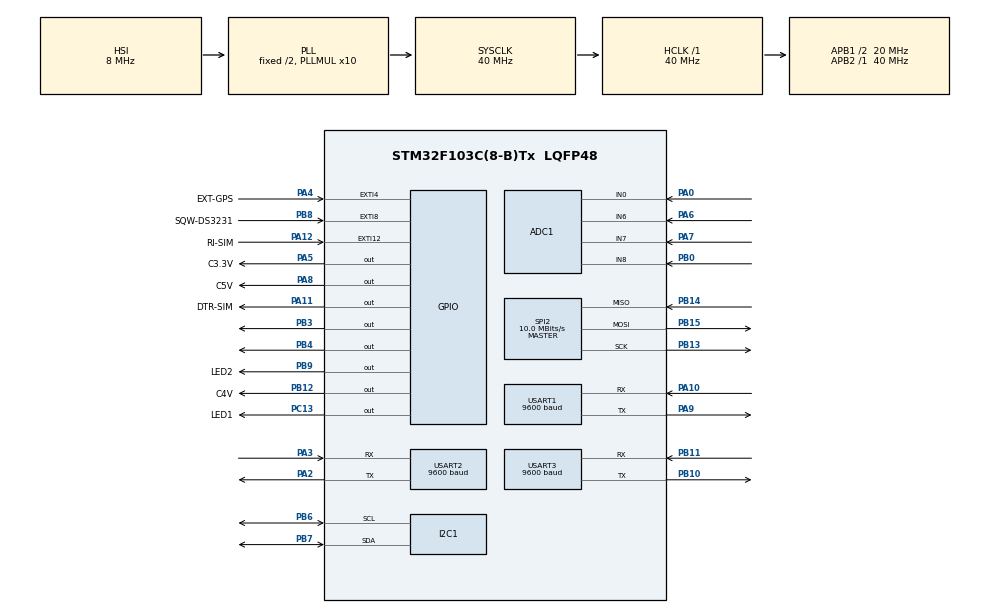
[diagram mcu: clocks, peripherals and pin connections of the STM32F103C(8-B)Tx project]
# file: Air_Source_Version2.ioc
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ADC1.Channel-46\#ChannelRegularConversion=ADC_CHANNEL_0
ADC1.Channel-47\#ChannelRegularConversion=ADC_CHANNEL_6
ADC1.Channel-48\#ChannelRegularConversion=ADC_CHANNEL_7
ADC1.Channel-49\#ChannelRegularConversion=ADC_CHANNEL_8
ADC1.ContinuousConvMode=ENABLE
ADC1.DataAlign=ADC_DATAALIGN_RIGHT
ADC1.DiscontinuousConvMode=DISABLE
ADC1.EnableAnalogWatchDog=false
ADC1.EnableRegularConversion=ENABLE
ADC1.ExternalTrigConv=ADC_SOFTWARE_START
ADC1.InjNumberOfConversion=0
ADC1.NbrOfConversion=4
ADC1.NbrOfConversionFlag=1
ADC1.Rank-46\#ChannelRegularConversion=1
ADC1.Rank-47\#ChannelRegularConversion=2
ADC1.Rank-48\#ChannelRegularConversion=3
ADC1.Rank-49\#ChannelRegularConversion=4
ADC1.SamplingTime-46\#ChannelRegularConversion=ADC_SAMPLETIME_239CYCLES_5
ADC1.SamplingTime-47\#ChannelRegularConversion=ADC_SAMPLETIME_239CYCLES_5
ADC1.SamplingTime-48\#ChannelRegularConversion=ADC_SAMPLETIME_239CYCLES_5
ADC1.SamplingTime-49\#ChannelRegularConversion=ADC_SAMPLETIME_239CYCLES_5
ADC1.ScanConvMode=ADC_SCAN_ENABLE
ADC1.master=1
Dma.ADC1.0.Direction=DMA_PERIPH_TO_MEMORY
Dma.ADC1.0.Instance=DMA1_Channel1
Dma.ADC1.0.MemDataAlignment=DMA_MDATAALIGN_HALFWORD
Dma.ADC1.0.MemInc=DMA_MINC_ENABLE
Dma.ADC1.0.Mode=DMA_CIRCULAR
Dma.ADC1.0.PeriphDataAlignment=DMA_PDATAALIGN_HALFWORD
Dma.ADC1.0.PeriphInc=DMA_PINC_DISABLE
Dma.ADC1.0.Priority=DMA_PRIORITY_LOW
Dma.Request0=ADC1
FATFS._MAX_SS=4096
FATFS._USE_LFN=1
Mcu.Family=STM32F1
Mcu.Name=STM32F103C(8-B)Tx
Mcu.Package=LQFP48
NVIC.DMA1_Channel1_IRQn=true\:0\:0\:false\:false\:true\:false
NVIC.EXTI15_10_IRQn=true\:0\:0\:false\:false\:true\:true
NVIC.EXTI4_IRQn=true\:0\:0\:false\:false\:true\:true
NVIC.EXTI9_5_IRQn=true\:0\:0\:false\:false\:true\:true
NVIC.I2C1_ER_IRQn=true\:0\:0\:false\:false\:true\:true
NVIC.I2C1_EV_IRQn=true\:0\:0\:false\:false\:true\:true
NVIC.PriorityGroup=NVIC_PRIORITYGROUP_4
NVIC.USART1_IRQn=true\:0\:0\:false\:false\:true\:true
NVIC.USART2_IRQn=true\:0\:0\:false\:false\:true\:true
NVIC.USART3_IRQn=true\:0\:0\:false\:false\:true\:true
PA0-WKUP.Signal=ADCx_IN0
PA10.Mode=Asynchronous
PA10.Signal=USART1_RX
PA11.GPIO_Label=DTR-SIM
PA11.PinState=GPIO_PIN_RESET
PA11.Signal=GPIO_Output
PA12.GPIO_Label=RI-SIM
PA12.GPIO_ModeDefaultEXTI=GPIO_MODE_IT_FALLING
PA12.GPIO_PuPd=GPIO_PULLUP
PA12.Signal=GPXTI12
PA13.Mode=Serial_Wire
PA13.Signal=SYS_JTMS-SWDIO
PA14.Mode=Serial_Wire
PA14.Signal=SYS_JTCK-SWCLK
PA2.Mode=Asynchronous
PA2.Signal=USART2_TX
PA3.Mode=Asynchronous
PA3.Signal=USART2_RX
PA4.GPIO_Label=EXT-GPS
PA4.GPIO_ModeDefaultEXTI=GPIO_MODE_IT_FALLING
PA4.GPIO_PuPd=GPIO_PULLUP
PA4.Signal=GPXTI4
PA5.GPIO_Label=C3.3V
PA5.PinState=GPIO_PIN_RESET
PA5.Signal=GPIO_Output
PA6.Signal=ADCx_IN6
PA7.Signal=ADCx_IN7
PA8.GPIO_Label=C5V
PA8.PinState=GPIO_PIN_RESET
PA8.Signal=GPIO_Output
PA9.Mode=Asynchronous
PA9.Signal=USART1_TX
PB0.Signal=ADCx_IN8
PB10.Mode=Asynchronous
PB10.Signal=USART3_TX
PB11.Mode=Asynchronous
PB11.Signal=USART3_RX
PB12.GPIO_Label=C4V
PB12.PinState=GPIO_PIN_RESET
PB12.Signal=GPIO_Output
PB13.Mode=Full_Duplex_Master
PB13.Signal=SPI2_SCK
PB14.Mode=Full_Duplex_Master
PB14.Signal=SPI2_MISO
PB15.Mode=Full_Duplex_Master
PB15.Signal=SPI2_MOSI
PB3.PinState=GPIO_PIN_RESET
PB3.Signal=GPIO_Output
PB4.PinState=GPIO_PIN_RESET
PB4.Signal=GPIO_Output
PB6.Mode=I2C
PB6.Signal=I2C1_SCL
PB7.Mode=I2C
PB7.Signal=I2C1_SDA
PB8.GPIO_Label=SQW-DS3231
PB8.GPIO_ModeDefaultEXTI=GPIO_MODE_IT_FALLING
PB8.GPIO_PuPd=GPIO_PULLUP
PB8.Signal=GPXTI8
PB9.GPIO_Label=LED2
PB9.PinState=GPIO_PIN_RESET
PB9.Signal=GPIO_Output
PC13-TAMPER-RTC.GPIO_Label=LED1
PC13-TAMPER-RTC.PinState=GPIO_PIN_RESET
PC13-TAMPER-RTC.Signal=GPIO_Output
PD0-OSC_IN.Mode=HSE-External-Oscillator
PD0-OSC_IN.Signal=RCC_OSC_IN
PD1-OSC_OUT.Mode=HSE-External-Oscillator
PD1-OSC_OUT.Signal=RCC_OSC_OUT
ProjectManager.HeapSize=0x200
ProjectManager.StackSize=0x400
ProjectManager.TargetToolchain=MDK-ARM V5
RCC.ADCPresc=RCC_ADCPCLK2_DIV4
RCC.AHBFreq_Value=40000000
RCC.APB1CLKDivider=RCC_HCLK_DIV2
RCC.APB1Freq_Value=20000000
RCC.APB1TimFreq_Value=40000000
RCC.APB2Freq_Value=40000000
RCC.APB2TimFreq_Value=40000000
RCC.HCLKFreq_Value=40000000
RCC.PLLMUL=RCC_PLL_MUL10
RCC.SYSCLKFreq_VALUE=40000000
RCC.SYSCLKSource=RCC_SYSCLKSOURCE_PLLCLK
RCC.USBFreq_Value=40000000
SH.ADCx_IN0.0=ADC1_IN0,IN0
SH.ADCx_IN6.0=ADC1_IN6,IN6
SH.ADCx_IN7.0=ADC1_IN7,IN7
SH.ADCx_IN8.0=ADC1_IN8,IN8
SPI2.CalculateBaudRate=10.0 MBits/s
SPI2.Direction=SPI_DIRECTION_2LINES
SPI2.Mode=SPI_MODE_MASTER
SPI2.VirtualType=VM_MASTER
USART1.BaudRate=9600
USART1.VirtualMode=VM_ASYNC
USART2.BaudRate=9600
USART2.VirtualMode=VM_ASYNC
USART3.BaudRate=9600
USART3.VirtualMode=VM_ASYNC
VP_FATFS_VS_Generic.Mode=User_defined
board=Air_Source_Version2

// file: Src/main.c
/**
  ******************************************************************************
  * @file           : main.c
  * @brief          : Main program body
  ******************************************************************************
  * This notice applies to any and all portions of this file
  * that are not between comment pairs USER CODE BEGIN and
  * USER CODE END. Other portions of this file, whether
  * inserted by the user or by software development tools
  * are owned by their respective copyright owners.
  *
  * Copyright (c) 2018 STMicroelectronics International N.V.
  * All rights reserved.
  *
  * Redistribution and use in source and binary forms, with or without
  * modification, are permitted, provided that the following conditions are met:
  *
  * 1. Redistribution of source code must retain the above copyright notice,
  *    this list of conditions and the following disclaimer.
  * 2. Redistributions in binary form must reproduce the above copyright notice,
  *    this list of conditions and the following disclaimer in the documentation
  *    and/or other materials provided with the distribution.
  * 3. Neither the name of STMicroelectronics nor the names of other
  *    contributors to this software may be used to endorse or promote products
  *    derived from this software without specific written permission.
  * 4. This software, including modifications and/or derivative works of this
  *    software, must execute solely and exclusively on microcontroller or
  *    microprocessor devices manufactured by or for STMicroelectronics.
  * 5. Redistribution and use of this software other than as permitted under
  *    this license is void and will automatically terminate your rights under
  *    this license.
  *
  * THIS SOFTWARE IS PROVIDED BY STMICROELECTRONICS AND CONTRIBUTORS "AS IS"
  * AND ANY EXPRESS, IMPLIED OR STATUTORY WARRANTIES, INCLUDING, BUT NOT
  * LIMITED TO, THE IMPLIED WARRANTIES OF MERCHANTABILITY, FITNESS FOR A
  * PARTICULAR PURPOSE AND NON-INFRINGEMENT OF THIRD PARTY INTELLECTUAL PROPERTY
  * RIGHTS ARE DISCLAIMED TO THE FULLEST EXTENT PERMITTED BY LAW. IN NO EVENT
  * SHALL STMICROELECTRONICS OR CONTRIBUTORS BE LIABLE FOR ANY DIRECT, INDIRECT,
  * INCIDENTAL, SPECIAL, EXEMPLARY, OR CONSEQUENTIAL DAMAGES (INCLUDING, BUT NOT
  * LIMITED TO, PROCUREMENT OF SUBSTITUTE GOODS OR SERVICES; LOSS OF USE, DATA,
  * OR PROFITS; OR BUSINESS INTERRUPTION) HOWEVER CAUSED AND ON ANY THEORY OF
  * LIABILITY, WHETHER IN CONTRACT, STRICT LIABILITY, OR TORT (INCLUDING
  * NEGLIGENCE OR OTHERWISE) ARISING IN ANY WAY OUT OF THE USE OF THIS SOFTWARE,
  * EVEN IF ADVISED OF THE POSSIBILITY OF SUCH DAMAGE.
  *
  ******************************************************************************
  */
#include "main.h"
#include "stm32f1xx_hal.h"
#include "fatfs.h"
/* USER CODE BEGIN Includes */
//#define DEBUG 1
#include "string.h"
#include "sd.h"
#include "rtc.h"
#include "pms7003.h"
#include "gpsneo.h"
#include "sensor.h"
#include "sim800c.h"
/* USER CODE END Includes */

ADC_HandleTypeDef hadc1;
DMA_HandleTypeDef hdma_adc1;

I2C_HandleTypeDef hi2c1;

SPI_HandleTypeDef hspi2;

UART_HandleTypeDef huart1;
UART_HandleTypeDef huart2;
UART_HandleTypeDef huart3;

/* USER CODE BEGIN PV */
/* Private variables ---------------------------------------------------------*/
/*
	SD Variable
*/
#define wSize 100
extern FATFS SDFatFs; //File system object structure (FATFS)
struct sd_data SD;
/*
	DS3231
*/
extern DS3231_t DS3231;
DS3231Control check;
DS3231AlarmTime alarm1;
/*
	PMS7003
*/
extern struct PMS7003_Data pms7003;
/*
	NEO6M
*/
extern char ch;
extern struct nmeaMessage_t 	nmeaMessage;
extern dataGps_t 			dataGps;

/*
	ADC
*/
Sensor_t sensor;
/*
	SIM
*/
extern struct UARTSim_t UARTSim;
/* USER CODE END PV */

void SystemClock_Config(void);
static void MX_GPIO_Init(void);
static void MX_DMA_Init(void);
static void MX_USART1_UART_Init(void);
static void MX_USART2_UART_Init(void);
static void MX_USART3_UART_Init(void);
static void MX_I2C1_Init(void);
static void MX_SPI2_Init(void);
static void MX_ADC1_Init(void);

/* USER CODE BEGIN PFP */
/* Private function prototypes -----------------------------------------------*/

/* USER CODE END PFP */

/* USER CODE BEGIN 0 */
void Clear_Buffer(){
		memset(dataGps.Location,'\0',50);
		memset(SD.wdata,'\0',300);
		memset(SD.data,'\0',512);
		memset(SD.rdata,'\0',512);
		GPS_ClearRxBuffer();
		GPS_ClearData();
}
/* USER CODE END 0 */

int main(void)

{

  /* MCU Configuration----------------------------------------------------------*/

  /* Reset of all peripherals, Initializes the Flash interface and the Systick. */
  HAL_Init();

  /* Configure the system clock */
  SystemClock_Config();

  /* Initialize all configured peripherals */
  MX_GPIO_Init();
  MX_DMA_Init();
  MX_USART1_UART_Init();
  MX_USART2_UART_Init();
  MX_USART3_UART_Init();
  MX_FATFS_Init();
  MX_I2C1_Init();
  MX_SPI2_Init();
  MX_ADC1_Init();
  /* USER CODE BEGIN 2 */
	//Initailize DS3231
	RTC_SetAlarm1(0,6,0,0,DS3231_MATCH_H_M_S,true);  //set time alarm
	RTC_GetAlarm1();    // check time alarm
	RTC_GetControl();  // check configure register

	//RTC_SetTime(16,6,0,9,9,18);   // set realtime
	HAL_UART_Receive_IT(&huart1, (uint8_t*)&UARTSim.Rx_data, 1);
	HAL_GPIO_WritePin(C3_3V_GPIO_Port, C3_3V_Pin, GPIO_PIN_RESET);
	HAL_GPIO_WritePin(C4V_GPIO_Port, C4V_Pin, GPIO_PIN_RESET);
	HAL_GPIO_WritePin(C5V_GPIO_Port, C5V_Pin, GPIO_PIN_RESET);
	//Initailize SIM
	SIM_begin();
  SIM_checkAccount();
	//Initailize SD
	disk_initialize(SDFatFs.drv);
	RTC_GetTime();         // get real time
	DS3231.gprs_hour = DS3231.hour;
	DS3231.ftp_hour = DS3231.hour;
	DS3231.gprs_min = DS3231.min;
	SD_Filename(DS3231.date, DS3231.month, DS3231.year, DS3231.hour);
	//SD_List_File();
  /* USER CODE END 2 */

  /* Infinite loop */
  /* USER CODE BEGIN WHILE */
  while (1)
  {
		RTC_GetTime();
		printf(" %d:%d:%d\r\n", DS3231.hour, DS3231.min, DS3231.sec);
			if(DS3231.hour < 18 && DS3231.hour > 5){
					if(DS3231.gprs_hour == DS3231.hour){
						if(DS3231.min<(DS3231.gprs_min + 1) && DS3231.min >= DS3231.gprs_min){
//---------------------------------------------------------------------------------------
				HAL_ADC_Start_DMA(&hadc1, (uint32_t*) sensor.ADC_Raw, 4);
					while(1){
						if(PMS7003_ReceiveData(&huart3) == PMS7003_RECEIVED){
							pms7003.state = PMS7003_CRC_ERROR;
							break;
							}
					}
					if(sensor.fAdc){
						Sensor_Convertdata(&sensor);
					}
//GPS:
					if(GPS_RawData()){
					strcat(dataGps.Location,dataGps.Latitude);
					strcat(dataGps.Location,"x");
					strcat(dataGps.Location,dataGps.S_N);
					strcat(dataGps.Location,"x");
					strcat(dataGps.Location,dataGps.Longtitude);
					strcat(dataGps.Location,"x");
					strcat(dataGps.Location,dataGps.E_W);
					#ifdef DEBUG
					printf("%s\r\n",dataGps.Location);
					#endif
				}
					else{
//	goto GPS;
					}
				//Connect:
				if(SIM_connectTCP()){
					SIM_getTCP(dataGps.Location, DS3231.date, DS3231.month, DS3231.year, DS3231.hour,DS3231.min,DS3231.sec,
					pms7003.pm1p0,pms7003.pm2p5,pms7003.pm10, sensor.ppmSO2, sensor.ppmNO2, sensor.ppmCO, sensor.pAcquy);
					}
					else{
// goto Connect;
					}
//Disconnect:
				if(SIM_disconnectTCP()){
				}
					else{
				//		goto Disconnect;
					}
				SD_Push_Data(DS3231.date, DS3231.month, DS3231.year, DS3231.hour,DS3231.min,DS3231.sec,dataGps.Latitude,dataGps.S_N,dataGps.Longtitude,dataGps.E_W,pms7003.pm10,
				pms7003.pm1p0,pms7003.pm2p5,sensor.ppmCO,sensor.ppmNO2,sensor.ppmSO2,sensor.pAcquy);
				SD.size = strlen(SD.wdata);
				SD_Write_File(SD.filename, SD.wdata, SD.size);
				HAL_Delay(1000);
//				SD_Read_File(SD.filename);
//				printf("%s\r\n",SD.data);
				Clear_Buffer();
				//-------------------------------------------------------------------------------------
							RTC_GetTime();
							if(DS3231.hour == DS3231.gprs_hour+1){
								DS3231.gprs_hour = DS3231.hour;
								DS3231.gprs_min = DS3231.min + 1;

								if(DS3231.gprs_min >= 60){
									DS3231.gprs_hour += 1;
									DS3231.gprs_min = DS3231.gprs_min - 60;
								}
								if(DS3231.gprs_hour == 24){
									DS3231.gprs_hour = 0;
								}
								#ifdef DEBUG
								printf("1. Gio: %d Phut: %d\r\n",DS3231.gprs_hour, DS3231.gprs_min);
								#endif
						}
							else if(DS3231.hour == 0){
								DS3231.gprs_hour = DS3231.hour;
								DS3231.gprs_min = DS3231.min + 1;

								if(DS3231.gprs_min >= 60){
									DS3231.gprs_min = DS3231.gprs_min - 60;
									DS3231.gprs_hour += 1;
								}
								#ifdef DEBUG
								printf("2. Gio: %d Phut: %d\r\n",DS3231.gprs_hour, DS3231.gprs_min);
								#endif
							}
							else if(DS3231.hour == DS3231.gprs_hour){
								DS3231.gprs_hour = DS3231.hour;
								DS3231.gprs_min = DS3231.min + 1;

								if(DS3231.gprs_min >= 60){
									DS3231.gprs_min = DS3231.gprs_min - 60;
									DS3231.gprs_hour+=1;
									if(DS3231.gprs_hour == 24){
										DS3231.gprs_hour = 0;
									}
								}
								#ifdef DEBUG
								printf("3. Gio: %d Phut: %d\r\n",DS3231.gprs_hour, DS3231.gprs_min);
								#endif
							}
						}
					}
				if(DS3231.hour == DS3231.ftp_hour+1){
//					if(SIM_connectGPRS()){
//						SD_Read_File(SD.filename);
//						SIM_SendFTP(SD.data);
//					}
//					else{
//					}
//					if(SIM_disconnectGPRS()){
//					}
//					else{
//					}
					memset(SD.filename,'\0',50);
					SD_Filename(DS3231.date, DS3231.month, DS3231.year, DS3231.hour);
					#ifdef DEBUG
					printf("%s\r\n",SD.filename);
					#endif
					DS3231.ftp_hour = DS3231.hour+1;
				}
			}
	else{
		SIM_Sleep;
		C5V_Off;
		#ifdef DEBUG
		printf("MCU enter sleepmode\r\n");
		#endif
    HAL_SuspendTick();
    HAL_PWR_EnterSLEEPMode(PWR_MAINREGULATOR_ON, PWR_SLEEPENTRY_WFI);
    HAL_ResumeTick();
		#ifdef DEBUG
		printf("MCU wakeup from sleepmode\r\n");
		#endif
		C5V_On;
		RTC_ClearAlarm1();
		RTC_GetControl();
		RTC_GetTime();
		DS3231.gprs_hour = DS3231.hour;
		DS3231.gprs_min = DS3231.min;
		DS3231.ftp_hour = DS3231.hour;
		memset(SD.filename,'\0',50);
		SD_Filename(DS3231.date, DS3231.month, DS3231.year, DS3231.hour);
	}
		HAL_Delay(1000);

  /* USER CODE END WHILE */

  }

}

void SystemClock_Config(void)
{

  RCC_OscInitTypeDef RCC_OscInitStruct;
  RCC_ClkInitTypeDef RCC_ClkInitStruct;
  RCC_PeriphCLKInitTypeDef PeriphClkInit;

    /**Initializes the CPU, AHB and APB busses clocks
    */
  RCC_OscInitStruct.OscillatorType = RCC_OSCILLATORTYPE_HSI;
  RCC_OscInitStruct.HSIState = RCC_HSI_ON;
  RCC_OscInitStruct.HSICalibrationValue = 16;
  RCC_OscInitStruct.PLL.PLLState = RCC_PLL_ON;
  RCC_OscInitStruct.PLL.PLLSource = RCC_PLLSOURCE_HSI_DIV2;
  RCC_OscInitStruct.PLL.PLLMUL = RCC_PLL_MUL10;
  if (HAL_RCC_OscConfig(&RCC_OscInitStruct) != HAL_OK)
  {
    _Error_Handler(__FILE__, __LINE__);
  }

    /**Initializes the CPU, AHB and APB busses clocks
    */
  RCC_ClkInitStruct.ClockType = RCC_CLOCKTYPE_HCLK|RCC_CLOCKTYPE_SYSCLK
                              |RCC_CLOCKTYPE_PCLK1|RCC_CLOCKTYPE_PCLK2;
  RCC_ClkInitStruct.SYSCLKSource = RCC_SYSCLKSOURCE_PLLCLK;
  RCC_ClkInitStruct.AHBCLKDivider = RCC_SYSCLK_DIV1;
  RCC_ClkInitStruct.APB1CLKDivider = RCC_HCLK_DIV2;
  RCC_ClkInitStruct.APB2CLKDivider = RCC_HCLK_DIV1;

  if (HAL_RCC_ClockConfig(&RCC_ClkInitStruct, FLASH_LATENCY_1) != HAL_OK)
  {
    _Error_Handler(__FILE__, __LINE__);
  }

  PeriphClkInit.PeriphClockSelection = RCC_PERIPHCLK_ADC;
  PeriphClkInit.AdcClockSelection = RCC_ADCPCLK2_DIV4;
  if (HAL_RCCEx_PeriphCLKConfig(&PeriphClkInit) != HAL_OK)
  {
    _Error_Handler(__FILE__, __LINE__);
  }

    /**Configure the Systick interrupt time
    */
  HAL_SYSTICK_Config(HAL_RCC_GetHCLKFreq()/1000);

    /**Configure the Systick
    */
  HAL_SYSTICK_CLKSourceConfig(SYSTICK_CLKSOURCE_HCLK);

  /* SysTick_IRQn interrupt configuration */
  HAL_NVIC_SetPriority(SysTick_IRQn, 0, 0);
}

/* ADC1 init function */
static void MX_ADC1_Init(void)
{

  ADC_ChannelConfTypeDef sConfig;

    /**Common config
    */
  hadc1.Instance = ADC1;
  hadc1.Init.ScanConvMode = ADC_SCAN_ENABLE;
  hadc1.Init.ContinuousConvMode = ENABLE;
  hadc1.Init.DiscontinuousConvMode = DISABLE;
  hadc1.Init.ExternalTrigConv = ADC_SOFTWARE_START;
  hadc1.Init.DataAlign = ADC_DATAALIGN_RIGHT;
  hadc1.Init.NbrOfConversion = 4;
  if (HAL_ADC_Init(&hadc1) != HAL_OK)
  {
    _Error_Handler(__FILE__, __LINE__);
  }

    /**Configure Regular Channel
    */
  sConfig.Channel = ADC_CHANNEL_0;
  sConfig.Rank = ADC_REGULAR_RANK_1;
  sConfig.SamplingTime = ADC_SAMPLETIME_239CYCLES_5;
  if (HAL_ADC_ConfigChannel(&hadc1, &sConfig) != HAL_OK)
  {
    _Error_Handler(__FILE__, __LINE__);
  }

    /**Configure Regular Channel
    */
  sConfig.Channel = ADC_CHANNEL_6;
  sConfig.Rank = ADC_REGULAR_RANK_2;
  if (HAL_ADC_ConfigChannel(&hadc1, &sConfig) != HAL_OK)
  {
    _Error_Handler(__FILE__, __LINE__);
  }

    /**Configure Regular Channel
    */
  sConfig.Channel = ADC_CHANNEL_7;
  sConfig.Rank = ADC_REGULAR_RANK_3;
  if (HAL_ADC_ConfigChannel(&hadc1, &sConfig) != HAL_OK)
  {
    _Error_Handler(__FILE__, __LINE__);
  }

    /**Configure Regular Channel
    */
  sConfig.Channel = ADC_CHANNEL_8;
  sConfig.Rank = ADC_REGULAR_RANK_4;
  if (HAL_ADC_ConfigChannel(&hadc1, &sConfig) != HAL_OK)
  {
    _Error_Handler(__FILE__, __LINE__);
  }

}

/* I2C1 init function */
static void MX_I2C1_Init(void)
{

  hi2c1.Instance = I2C1;
  hi2c1.Init.ClockSpeed = 100000;
  hi2c1.Init.DutyCycle = I2C_DUTYCYCLE_2;
  hi2c1.Init.OwnAddress1 = 0;
  hi2c1.Init.AddressingMode = I2C_ADDRESSINGMODE_7BIT;
  hi2c1.Init.DualAddressMode = I2C_DUALADDRESS_DISABLE;
  hi2c1.Init.OwnAddress2 = 0;
  hi2c1.Init.GeneralCallMode = I2C_GENERALCALL_DISABLE;
  hi2c1.Init.NoStretchMode = I2C_NOSTRETCH_DISABLE;
  if (HAL_I2C_Init(&hi2c1) != HAL_OK)
  {
    _Error_Handler(__FILE__, __LINE__);
  }

}

/* SPI2 init function */
static void MX_SPI2_Init(void)
{

  /* SPI2 parameter configuration*/
  hspi2.Instance = SPI2;
  hspi2.Init.Mode = SPI_MODE_MASTER;
  hspi2.Init.Direction = SPI_DIRECTION_2LINES;
  hspi2.Init.DataSize = SPI_DATASIZE_8BIT;
  hspi2.Init.CLKPolarity = SPI_POLARITY_LOW;
  hspi2.Init.CLKPhase = SPI_PHASE_1EDGE;
  hspi2.Init.NSS = SPI_NSS_SOFT;
  hspi2.Init.BaudRatePrescaler = SPI_BAUDRATEPRESCALER_2;
  hspi2.Init.FirstBit = SPI_FIRSTBIT_MSB;
  hspi2.Init.TIMode = SPI_TIMODE_DISABLE;
  hspi2.Init.CRCCalculation = SPI_CRCCALCULATION_DISABLE;
  hspi2.Init.CRCPolynomial = 10;
  if (HAL_SPI_Init(&hspi2) != HAL_OK)
  {
    _Error_Handler(__FILE__, __LINE__);
  }

}

/* USART1 init function */
static void MX_USART1_UART_Init(void)
{

  huart1.Instance = USART1;
  huart1.Init.BaudRate = 9600;
  huart1.Init.WordLength = UART_WORDLENGTH_8B;
  huart1.Init.StopBits = UART_STOPBITS_1;
  huart1.Init.Parity = UART_PARITY_NONE;
  huart1.Init.Mode = UART_MODE_TX_RX;
  huart1.Init.HwFlowCtl = UART_HWCONTROL_NONE;
  huart1.Init.OverSampling = UART_OVERSAMPLING_16;
  if (HAL_UART_Init(&huart1) != HAL_OK)
  {
    _Error_Handler(__FILE__, __LINE__);
  }

}

/* USART2 init function */
static void MX_USART2_UART_Init(void)
{

  huart2.Instance = USART2;
  huart2.Init.BaudRate = 9600;
  huart2.Init.WordLength = UART_WORDLENGTH_8B;
  huart2.Init.StopBits = UART_STOPBITS_1;
  huart2.Init.Parity = UART_PARITY_NONE;
  huart2.Init.Mode = UART_MODE_TX_RX;
  huart2.Init.HwFlowCtl = UART_HWCONTROL_NONE;
  huart2.Init.OverSampling = UART_OVERSAMPLING_16;
  if (HAL_UART_Init(&huart2) != HAL_OK)
  {
    _Error_Handler(__FILE__, __LINE__);
  }

}

/* USART3 init function */
static void MX_USART3_UART_Init(void)
{

  huart3.Instance = USART3;
  huart3.Init.BaudRate = 9600;
  huart3.Init.WordLength = UART_WORDLENGTH_8B;
  huart3.Init.StopBits = UART_STOPBITS_1;
  huart3.Init.Parity = UART_PARITY_NONE;
  huart3.Init.Mode = UART_MODE_TX_RX;
  huart3.Init.HwFlowCtl = UART_HWCONTROL_NONE;
  huart3.Init.OverSampling = UART_OVERSAMPLING_16;
  if (HAL_UART_Init(&huart3) != HAL_OK)
  {
    _Error_Handler(__FILE__, __LINE__);
  }

}

static void MX_DMA_Init(void)
{
  /* DMA controller clock enable */
  __HAL_RCC_DMA1_CLK_ENABLE();

  /* DMA interrupt init */
  /* DMA1_Channel1_IRQn interrupt configuration */
  HAL_NVIC_SetPriority(DMA1_Channel1_IRQn, 0, 0);
  HAL_NVIC_EnableIRQ(DMA1_Channel1_IRQn);

}

/** Configure pins as
        * Analog
        * Input
        * Output
        * EVENT_OUT
        * EXTI
*/
static void MX_GPIO_Init(void)
{

  GPIO_InitTypeDef GPIO_InitStruct;

  /* GPIO Ports Clock Enable */
  __HAL_RCC_GPIOC_CLK_ENABLE();
  __HAL_RCC_GPIOD_CLK_ENABLE();
  __HAL_RCC_GPIOA_CLK_ENABLE();
  __HAL_RCC_GPIOB_CLK_ENABLE();

  /*Configure GPIO pin Output Level */
  HAL_GPIO_WritePin(LED1_GPIO_Port, LED1_Pin, GPIO_PIN_RESET);

  /*Configure GPIO pin Output Level */
  HAL_GPIO_WritePin(GPIOA, C3_3V_Pin|C5V_Pin|DTR_SIM_Pin, GPIO_PIN_RESET);

  /*Configure GPIO pin Output Level */
  HAL_GPIO_WritePin(GPIOB, C4V_Pin|GPIO_PIN_3|GPIO_PIN_4|LED2_Pin, GPIO_PIN_RESET);

  /*Configure GPIO pin : LED1_Pin */
  GPIO_InitStruct.Pin = LED1_Pin;
  GPIO_InitStruct.Mode = GPIO_MODE_OUTPUT_PP;
  GPIO_InitStruct.Speed = GPIO_SPEED_FREQ_LOW;
  HAL_GPIO_Init(LED1_GPIO_Port, &GPIO_InitStruct);

  /*Configure GPIO pins : EXT_GPS_Pin RI_SIM_Pin */
  GPIO_InitStruct.Pin = EXT_GPS_Pin|RI_SIM_Pin;
  GPIO_InitStruct.Mode = GPIO_MODE_IT_FALLING;
  GPIO_InitStruct.Pull = GPIO_PULLUP;
  HAL_GPIO_Init(GPIOA, &GPIO_InitStruct);

  /*Configure GPIO pins : C3_3V_Pin C5V_Pin DTR_SIM_Pin */
  GPIO_InitStruct.Pin = C3_3V_Pin|C5V_Pin|DTR_SIM_Pin;
  GPIO_InitStruct.Mode = GPIO_MODE_OUTPUT_PP;
  GPIO_InitStruct.Speed = GPIO_SPEED_FREQ_LOW;
  HAL_GPIO_Init(GPIOA, &GPIO_InitStruct);

  /*Configure GPIO pins : C4V_Pin PB3 PB4 LED2_Pin */
  GPIO_InitStruct.Pin = C4V_Pin|GPIO_PIN_3|GPIO_PIN_4|LED2_Pin;
  GPIO_InitStruct.Mode = GPIO_MODE_OUTPUT_PP;
  GPIO_InitStruct.Speed = GPIO_SPEED_FREQ_LOW;
  HAL_GPIO_Init(GPIOB, &GPIO_InitStruct);

  /*Configure GPIO pin : SQW_DS3231_Pin */
  GPIO_InitStruct.Pin = SQW_DS3231_Pin;
  GPIO_InitStruct.Mode = GPIO_MODE_IT_FALLING;
  GPIO_InitStruct.Pull = GPIO_PULLUP;
  HAL_GPIO_Init(SQW_DS3231_GPIO_Port, &GPIO_InitStruct);

  /* EXTI interrupt init*/
  HAL_NVIC_SetPriority(EXTI4_IRQn, 0, 0);
  HAL_NVIC_EnableIRQ(EXTI4_IRQn);

  HAL_NVIC_SetPriority(EXTI9_5_IRQn, 0, 0);
  HAL_NVIC_EnableIRQ(EXTI9_5_IRQn);

  HAL_NVIC_SetPriority(EXTI15_10_IRQn, 0, 0);
  HAL_NVIC_EnableIRQ(EXTI15_10_IRQn);
}

/* USER CODE BEGIN 4 */
void HAL_GPIO_EXTI_Callback(uint16_t GPIO_Pin){
    if (GPIO_Pin == SQW_DS3231_Pin){
		  printf("Wakeup from RTC\r\n");
    }
		if (GPIO_Pin == RI_SIM_Pin){
			printf("Wakeup from RI Sim\r\n");
			SIM_Wakeup;
    }
}

#ifdef __GNUC__
  #define PUTCHAR_PROTOTYPE int __io_putchar(int ch)
#else
  #define PUTCHAR_PROTOTYPE int fputc(int ch, FILE *f)
#endif
PUTCHAR_PROTOTYPE
{
    HAL_UART_Transmit(&huart3, (uint8_t *)&ch, 1, 100);
    return ch;
}
/* USER CODE END 4 */

void _Error_Handler(char *file, int line)
{
  while(1)
  {
  }
}

/************************ (C) COPYRIGHT STMicroelectronics *****END OF FILE****/
